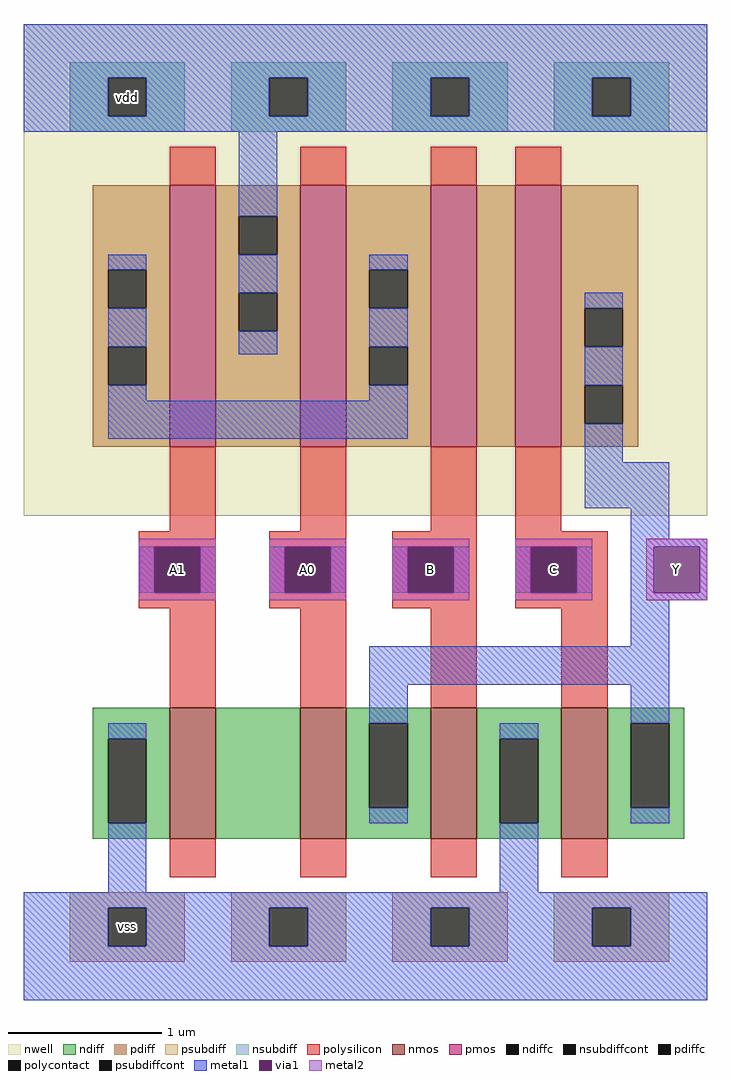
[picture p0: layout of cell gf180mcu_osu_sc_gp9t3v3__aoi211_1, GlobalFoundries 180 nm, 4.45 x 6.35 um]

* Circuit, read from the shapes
.subckt gf180mcu_osu_sc_gp9t3v3__aoi211_1 vdd A0 A1 B C Y vss
XM1 n1 A1 vss vss nfet_03v3 w=0.85u l=0.3u
XM2 Y A0 n1 vss nfet_03v3 w=0.85u l=0.3u
XM3 vss B Y vss nfet_03v3 w=0.85u l=0.3u
XM4 Y C vss vss nfet_03v3 w=0.85u l=0.3u
XM5 vdd A1 n2 vdd pfet_03v3 w=1.7u l=0.3u
XM6 n2 A0 vdd vdd pfet_03v3 w=1.7u l=0.3u
XM7 n3 B n2 vdd pfet_03v3 w=1.7u l=0.3u
XM8 Y C n3 vdd pfet_03v3 w=1.7u l=0.3u
.ends

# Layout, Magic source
magic
tech gf180mcuD
<< nwell >>
rect -18 45 71 109
<< nmos >>
rect 1 3 7 20
rect 18 3 24 20
rect 35 3 41 20
rect 52 3 58 20
<< pmos >>
rect 1 54 7 88
rect 18 54 24 88
rect 35 54 41 88
rect 46 54 52 88
<< ndiff >>
rect -9 16 1 20
rect -9 5 -7 16
rect -2 5 1 16
rect -9 3 1 5
rect 7 3 18 20
rect 24 18 35 20
rect 24 7 27 18
rect 32 7 35 18
rect 24 3 35 7
rect 41 16 52 20
rect 41 5 44 16
rect 49 5 52 16
rect 41 3 52 5
rect 58 18 68 20
rect 58 7 61 18
rect 66 7 68 18
rect 58 3 68 7
<< pdiff >>
rect -9 77 1 88
rect -9 72 -7 77
rect -2 72 1 77
rect -9 67 1 72
rect -9 62 -7 67
rect -2 62 1 67
rect -9 54 1 62
rect 7 84 18 88
rect 7 79 10 84
rect 15 79 18 84
rect 7 74 18 79
rect 7 69 10 74
rect 15 69 18 74
rect 7 54 18 69
rect 24 77 35 88
rect 24 72 27 77
rect 32 72 35 77
rect 24 67 35 72
rect 24 62 27 67
rect 32 62 35 67
rect 24 54 35 62
rect 41 54 46 88
rect 52 72 62 88
rect 52 67 55 72
rect 60 67 62 72
rect 52 62 62 67
rect 52 57 55 62
rect 60 57 62 62
rect 52 54 62 57
<< ndiffc >>
rect -7 5 -2 16
rect 27 7 32 18
rect 44 5 49 16
rect 61 7 66 18
<< pdiffc >>
rect -7 72 -2 77
rect -7 62 -2 67
rect 10 79 15 84
rect 10 69 15 74
rect 27 72 32 77
rect 27 62 32 67
rect 55 67 60 72
rect 55 57 60 62
<< psubdiff >>
rect -12 -6 3 -4
rect -12 -11 -7 -6
rect -2 -11 3 -6
rect -12 -13 3 -11
rect 9 -6 24 -4
rect 9 -11 14 -6
rect 19 -11 24 -6
rect 9 -13 24 -11
rect 30 -6 45 -4
rect 30 -11 35 -6
rect 40 -11 45 -6
rect 30 -13 45 -11
rect 51 -6 66 -4
rect 51 -11 56 -6
rect 61 -11 66 -6
rect 51 -13 66 -11
<< nsubdiff >>
rect -12 102 3 104
rect -12 97 -7 102
rect -2 97 3 102
rect -12 95 3 97
rect 9 102 24 104
rect 9 97 14 102
rect 19 97 24 102
rect 9 95 24 97
rect 30 102 45 104
rect 30 97 35 102
rect 40 97 45 102
rect 30 95 45 97
rect 51 102 66 104
rect 51 97 56 102
rect 61 97 66 102
rect 51 95 66 97
<< psubdiffcont >>
rect -7 -11 -2 -6
rect 14 -11 19 -6
rect 35 -11 40 -6
rect 56 -11 61 -6
<< nsubdiffcont >>
rect -7 97 -2 102
rect 14 97 19 102
rect 35 97 40 102
rect 56 97 61 102
<< polysilicon >>
rect 1 88 7 93
rect 18 88 24 93
rect 35 88 41 93
rect 46 88 52 93
rect 1 43 7 54
rect 18 43 24 54
rect 35 43 41 54
rect -3 41 7 43
rect -3 35 -1 41
rect 5 35 7 41
rect -3 33 7 35
rect 14 41 24 43
rect 14 35 16 41
rect 22 35 24 41
rect 14 33 24 35
rect 30 41 41 43
rect 30 35 32 41
rect 38 35 41 41
rect 30 33 41 35
rect 46 43 52 54
rect 46 41 58 43
rect 46 35 48 41
rect 54 35 58 41
rect 46 33 58 35
rect 1 20 7 33
rect 18 20 24 33
rect 35 20 41 33
rect 52 20 58 33
rect 1 -2 7 3
rect 18 -2 24 3
rect 35 -2 41 3
rect 52 -2 58 3
<< polycontact >>
rect -1 35 5 41
rect 16 35 22 41
rect 32 35 38 41
rect 48 35 54 41
<< metal1 >>
rect -18 102 71 109
rect -18 97 -7 102
rect -2 97 14 102
rect 19 97 35 102
rect 40 97 56 102
rect 61 97 71 102
rect -18 95 71 97
rect 10 84 15 95
rect -7 77 -2 79
rect -7 67 -2 72
rect 10 74 15 79
rect 10 66 15 69
rect 27 77 32 79
rect 27 67 32 72
rect -7 60 -2 62
rect 27 60 32 62
rect -7 55 32 60
rect 55 72 60 74
rect 55 62 60 67
rect 55 52 60 57
rect 55 46 66 52
rect 61 42 66 46
rect 61 41 71 42
rect -3 35 -1 41
rect 5 35 7 41
rect 14 35 16 41
rect 22 35 24 41
rect 30 35 32 41
rect 38 35 40 41
rect 46 35 48 41
rect 54 35 56 41
rect 61 35 64 41
rect 70 35 71 41
rect 61 34 71 35
rect 61 28 66 34
rect 27 23 66 28
rect 27 18 32 23
rect 61 18 66 23
rect -7 16 -2 18
rect 27 5 32 7
rect 44 16 49 18
rect 61 5 66 7
rect -7 -4 -2 5
rect 44 -4 49 5
rect -18 -6 71 -4
rect -18 -11 -7 -6
rect -2 -11 14 -6
rect 19 -11 35 -6
rect 40 -11 56 -6
rect 61 -11 71 -6
rect -18 -18 71 -11
<< via1 >>
rect -1 35 5 41
rect 16 35 22 41
rect 32 35 38 41
rect 48 35 54 41
rect 64 35 70 41
<< metal2 >>
rect -3 41 7 42
rect -3 35 -1 41
rect 5 35 7 41
rect -3 34 7 35
rect 14 41 24 42
rect 14 35 16 41
rect 22 35 24 41
rect 14 34 24 35
rect 30 41 40 42
rect 30 35 32 41
rect 38 35 40 41
rect 30 34 40 35
rect 46 41 56 42
rect 46 35 48 41
rect 54 35 56 41
rect 46 34 56 35
rect 63 41 71 42
rect 63 35 64 41
rect 70 35 71 41
rect 63 34 71 35
<< labels >>
rlabel via1 64 35 70 41 1 Y
port 11 e signal output
rlabel psubdiffcont -7 -11 -2 -6 1 vss
port 12 s ground bidirectional abutment
rlabel metal2 32 35 38 41 1 B
port 9 w signal input
rlabel metal2 48 35 54 41 1 C
port 10 w signal input
rlabel nsubdiffcont -7 97 -2 102 1 vdd
port 1 n power bidirectional abutment
rlabel metal2 16 35 22 41 1 A0
port 3 n signal input
rlabel metal2 -1 35 5 41 1 A1
port 8 w signal input
<< end >>
